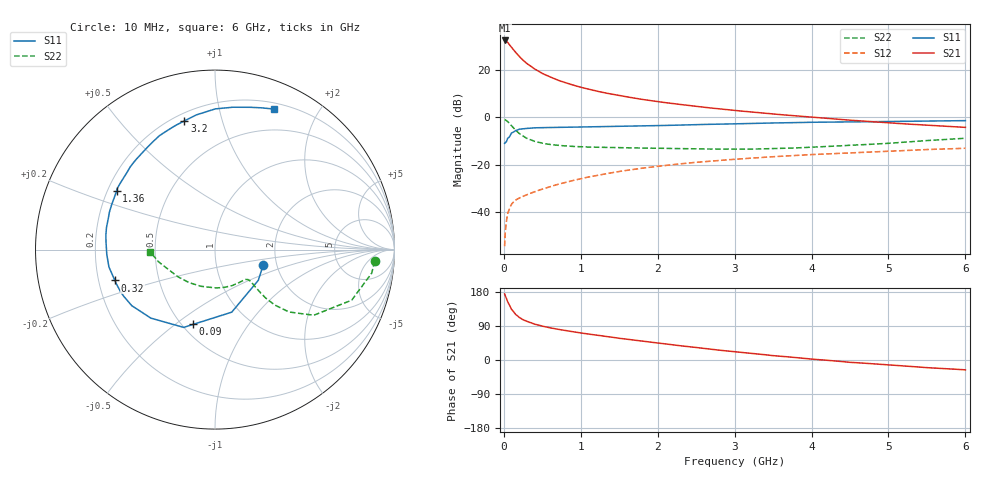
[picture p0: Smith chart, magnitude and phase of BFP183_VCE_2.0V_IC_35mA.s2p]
! Infineon Technologies  Discrete & RF Semiconductors
! BFP183
! VCE = 2.0 V,  IC =  35 mA
! Common Emitter S-Parameters:  Jan 2016
# GHz  S  MA  R  50
!  f  S11  S21  S12  S22
! GHz  MAG  ANG  MAG  ANG  MAG  ANG  MAG  ANG
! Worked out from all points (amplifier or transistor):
!   210 points, 10 MHz to 6 GHz, reference 50 ohm
!   highest |S21| = 32.4 dB at 10 MHz (marker M1)
!   |S21| within 3 dB of that: start of sweep to 103.2 MHz
!   unconditionally stable (mu >= 1): start of sweep to 12.38 MHz; 409.8 MHz to end of sweep
!   at 185 MHz: K = 0.63, MSG = 30.3 dB, |S12| = -34.4 dB
!   at 1.52 GHz: K = 1.31, MAG = 12.6 dB, |S12| = -22.8 dB
!   at 6 GHz: K = 1.02, MAG = 3.5 dB, |S12| = -13.1 dB
!   S11 on the Smith chart (normalised r, x): 10 MHz: 1.70, -0.32; 90 MHz: 0.57, -0.58; 320 MHz: 0.27, -0.14; 1.36 GHz: 0.24, +0.26; 3.2 GHz: 0.24, +0.76; 6 GHz: 0.26, +1.47
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0.01  0.2818 -17.7  41.84 174.2  0.0019 72.6  0.8914 -4.1
0.02  0.2958 -35.3  41.45 168.9  0.0039 78.8  0.8832 -8.5
0.05  0.3608 -75.0  38.13 152.8  0.0093 69.5  0.8121 -20.3
0.09  0.4336 -106.2  31.34 138.1  0.0136 56.6  0.6878 -30.5
0.1  0.4672 -111.9  30.05 133.5  0.0147 54.6  0.6609 -33.6
0.15  0.523 -133.1  23.74 120.7  0.0177 51.3  0.5397 -40.1
0.2  0.5591 -146.0  19.21 112.3  0.0197 49.1  0.4548 -42.8
0.26  0.5758 -155.7  15.49 105.3  0.0218 49.8  0.3911 -43.7
0.3  0.5819 -160.9  13.62 101.6  0.0232 50.0  0.3583 -43.6
0.32  0.5839 -162.9  12.97 100.5  0.0239 50.6  0.3487 -43.5
0.4  0.5988 -170.7  10.46 94.5  0.0267 52.8  0.3101 -42.9
0.5  0.6035 -177.4  8.416 89.3  0.0305 54.2  0.2824 -42.2
0.6  0.6079 176.9  7.118 84.9  0.0343 55.7  0.2663 -41.8
0.8  0.6171 168.4  5.355 77.7  0.0419 58.1  0.2483 -42.2
1.02  0.6246 159.9  4.219 70.8  0.0511 58.8  0.2373 -44.5
1.36  0.6391 149.0  3.172 61.3  0.0655 58.2  0.2305 -49.8
2.02  0.6685 130.4  2.116 44.2  0.0929 53.6  0.2223 -64.4
3.1  0.7313 105.4  1.346 19.9  0.1331 43.5  0.212 -97.4
3.2  0.7367 103.4  1.3 18.0  0.1365 42.5  0.2126 -100.8
4.1  0.786 88.5  0.977 0.9  0.1656 33.9  0.2368 -131.5
5.1  0.8168 76.1  0.743 -14.2  0.1943 25.6  0.2893 -159.4
6  0.8492 67.2  0.612 -26.0  0.2215 16.4  0.3609 -178.0
